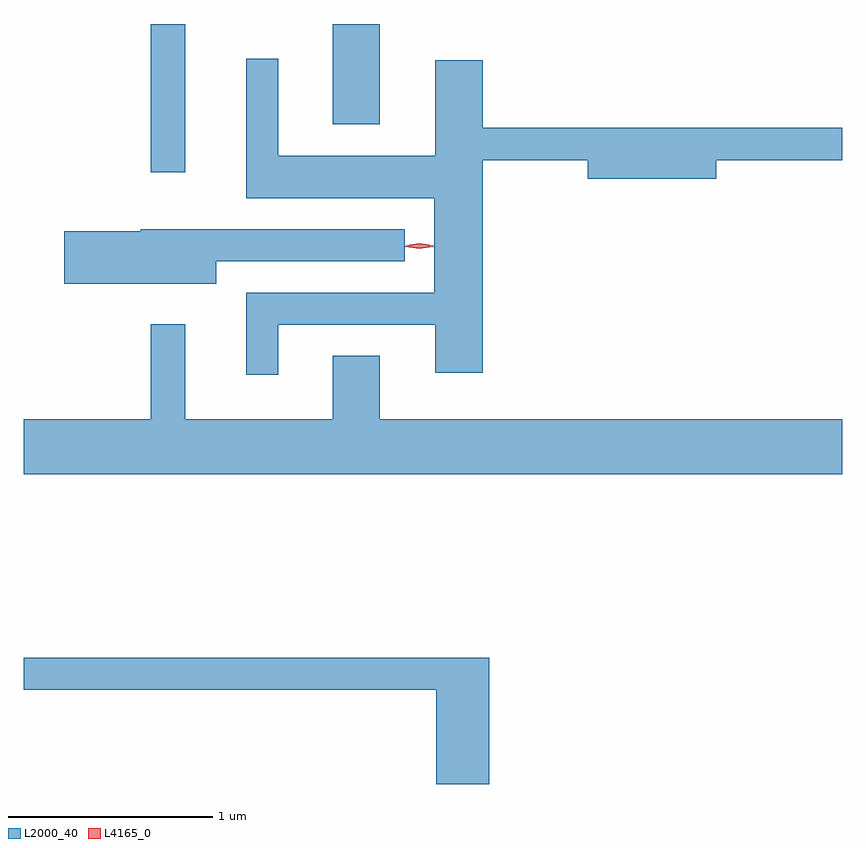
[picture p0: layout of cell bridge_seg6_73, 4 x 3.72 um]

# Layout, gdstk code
import gdstk
lib = gdstk.Library(unit=1e-6, precision=1e-09)
def R(c, l, rs):  # rectangles x0, y0, x1, y1
    for r in rs: c.add(gdstk.rectangle(r[:2], r[2:], *l))
def P(c, l, *ps):  # polygons
    for p in ps: c.add(gdstk.Polygon(p, *l))
L2000_40 = (2000, 40)
L4165_0 = (4165, 0)

bridge_seg6_73 = lib.new_cell('bridge_seg6_73')
R(bridge_seg6_73, L2000_40, [(1400.091,1642.533,1400.259,1643.257), (1400.981,1642.766,1401.209,1643.257)])
P(bridge_seg6_73, L2000_40, [(1400.714,1641.786),(1401.481,1641.786),(1401.481,1641.551),(1401.714,1641.551),(1401.714,1642.591),(1402.226,1642.591),(1402.226,1642.501),(1402.854,1642.501),(1402.854,1642.591),(1403.47,1642.591),(1403.47,1642.749),(1401.714,1642.749),(1401.714,1643.079),(1401.481,1643.079),(1401.481,1642.614),(1400.714,1642.614),(1400.714,1643.088),(1400.556,1643.088),(1400.556,1642.406),(1401.476,1642.406),(1401.476,1641.944),(1400.556,1641.944),(1400.556,1641.543),(1400.714,1641.543)],
  [(1400.409,1642.096),(1401.333,1642.096),(1401.333,1642.254),(1400.04,1642.254),(1400.04,1642.244),(1399.666,1642.244),(1399.666,1641.986),(1400.409,1641.986)],
  [(1403.47,1641.324),(1401.209,1641.324),(1401.209,1641.634),(1400.981,1641.634),(1400.981,1641.324),(1400.259,1641.324),(1400.259,1641.788),(1400.091,1641.788),(1400.091,1641.324),(1399.47,1641.324),(1399.47,1641.056),(1403.47,1641.056)],
  [(1401.744,1640.159),(1399.47,1640.159),(1399.47,1640.001),(1401.486,1640.001),(1401.486,1639.541),(1401.744,1639.541)])
P(bridge_seg6_73, L4165_0, [(1401.404,1642.165),(1401.338,1642.174),(1401.337,1642.175),(1401.338,1642.175),(1401.404,1642.185),(1401.469,1642.175),(1401.47,1642.175),(1401.469,1642.174)],
  [(1401.403,1642.159),(1401.334,1642.169),(1401.333,1642.17),(1401.334,1642.17),(1401.403,1642.179),(1401.472,1642.17),(1401.473,1642.169),(1401.472,1642.169)])

lib.write_gds('bridge_seg6_73.gds')
